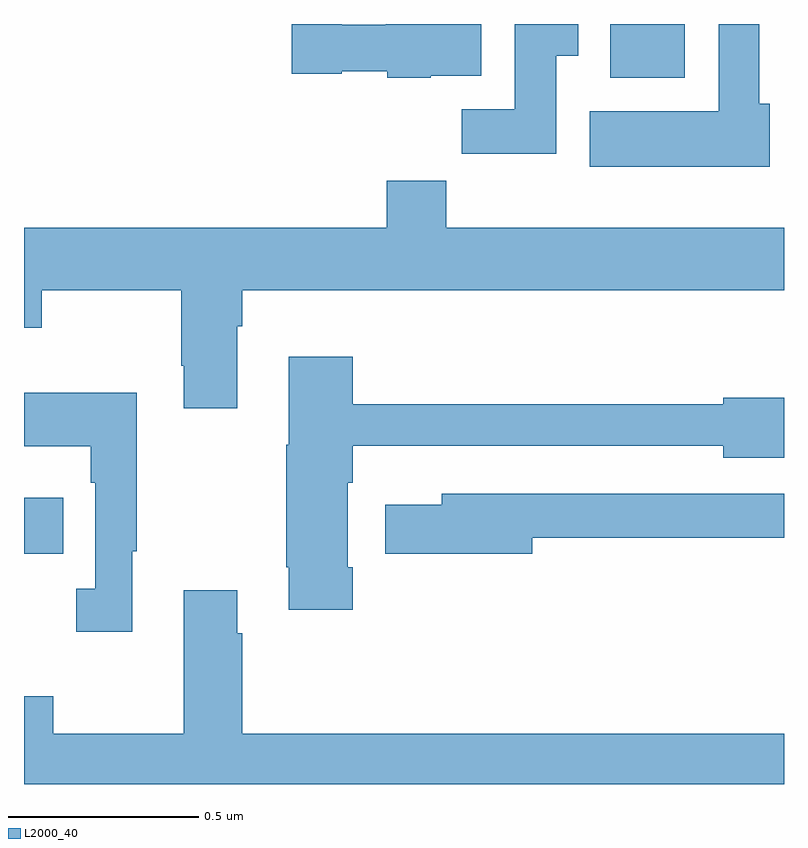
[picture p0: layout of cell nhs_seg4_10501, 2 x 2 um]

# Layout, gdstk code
import gdstk
lib = gdstk.Library(unit=1e-6, precision=1e-09)
def R(c, l, rs):  # rectangles x0, y0, x1, y1
    for r in rs: c.add(gdstk.rectangle(r[:2], r[2:], *l))
def P(c, l, *ps):  # polygons
    for p in ps: c.add(gdstk.Polygon(p, *l))
L2000_40 = (2000, 40)

nhs_seg4_10501 = lib.new_cell('nhs_seg4_10501')
R(nhs_seg4_10501, L2000_40, [(241,749.506,241.103,749.653), (242.543,750.758,242.739,750.9)])
P(nhs_seg4_10501, L2000_40, [(242.962,750.69),(242.935,750.69),(242.935,750.9),(242.828,750.9),(242.828,750.67),(242.489,750.67),(242.489,750.524),(242.962,750.524)],
  [(242.401,750.817),(242.458,750.817),(242.458,750.9),(242.291,750.9),(242.291,750.676),(242.152,750.676),(242.152,750.558),(242.401,750.558)],
  [(242.07,750.764),(242.203,750.764),(242.203,750.9),(241.952,750.9),(241.952,750.898),(241.836,750.898),(241.836,750.9),(241.704,750.9),(241.704,750.769),(241.836,750.769),(241.836,750.776),(241.956,750.776),(241.956,750.758),(242.07,750.758)],
  [(241.561,750.104),(241.574,750.104),(241.574,750.2),(243,750.2),(243,750.364),(242.111,750.364),(242.111,750.488),(241.955,750.488),(241.955,750.364),(241,750.364),(241,750.101),(241.047,750.101),(241.047,750.2),(241.414,750.2),(241.414,750.001),(241.421,750.001),(241.421,749.889),(241.561,749.889)],
  [(241.865,749.47),(241.852,749.47),(241.852,749.693),(241.865,749.693),(241.865,749.79),(242.84,749.79),(242.84,749.759),(243,749.759),(243,749.917),(242.84,749.917),(242.84,749.899),(241.865,749.899),(241.865,750.025),(241.697,750.025),(241.697,749.793),(241.69,749.793),(241.69,749.47),(241.697,749.47),(241.697,749.358),(241.865,749.358)],
  [(241.285,749.513),(241.297,749.513),(241.297,749.929),(241,749.929),(241,749.789),(241.176,749.789),(241.176,749.693),(241.188,749.693),(241.188,749.414),(241.137,749.414),(241.137,749.301),(241.285,749.301)],
  [(242.338,749.548),(243,749.548),(243,749.664),(242.099,749.664),(242.099,749.635),(241.95,749.635),(241.95,749.506),(242.338,749.506)],
  [(243,749.032),(241.574,749.032),(241.574,749.297),(241.561,749.297),(241.561,749.41),(241.421,749.41),(241.421,749.032),(241.077,749.032),(241.077,749.131),(241,749.131),(241,748.9),(243,748.9)])

lib.write_gds('nhs_seg4_10501.gds')
